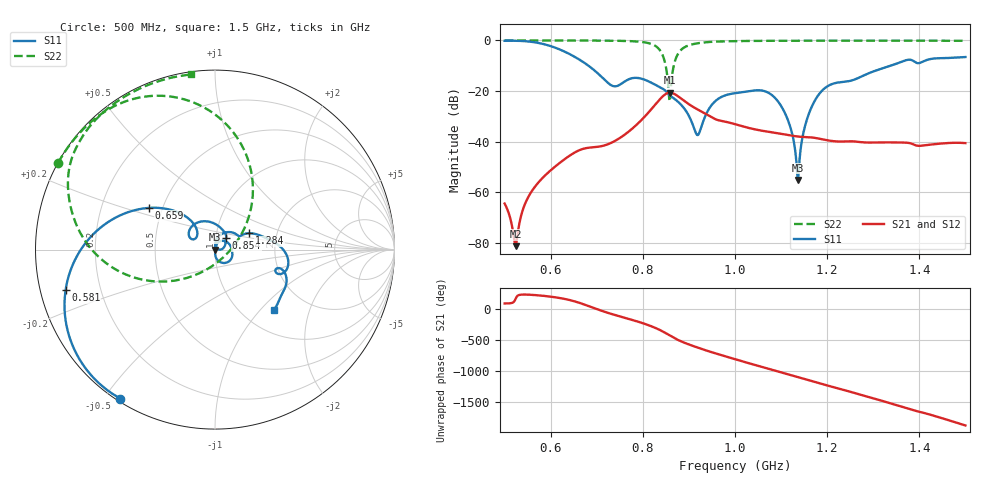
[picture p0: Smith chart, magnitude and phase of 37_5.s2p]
! TOUCHSTONE file generated by CST MICROWAVE STUDIO
! Date and time: Mon Oct 26 12:28:59 2020
! Project name: Scenario_1_Circular_Tissue_out_of_Line.cst
! Parameters = {dy1=278.276; L_HA=400; MT=2.54; Rad_Dielectric=30; Rad_Lower=7.3; Rad_Upper=30; a_HA=580; a_WG=246; b_HA=500; b_WG=121; c_HA=0; c_WG=187; d_feed=85; dx1=866; h_feed=15; h_lower=18; h_upper=40}
! Header version: 2018
! Port assignment regex: !\s*Touchstone port\s*([0-9]+)\s*=\s*(CST MWS port|CST DS port)\s*([0-9]+|Zmin|Zmax)\s*\(\"(.*)\"\)(\s*mode\s*([0-9]+))?.*
! Touchstone port assignment:
! Touchstone port 1 = CST MWS port 1 ("")
! Touchstone port 2 = CST MWS port 2 ("")
# GHz S DB R 50
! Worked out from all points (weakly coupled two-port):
!   1001 points, 500 MHz to 1.5 GHz, reference 50 ohm
!   highest |S21| = -20.64 dB at 859 MHz (marker M1); lowest = -81.2 dB at 524 MHz (marker M2)
!   lowest |S11| = -55.1 dB at 1.136 GHz (marker M3), VSWR 1.00, Z = 50.2 - j0.0552 ohm
!   |S11| at or under -10 dB: 682.1 MHz to 1.338 GHz (655.5 MHz wide, 64.9 % of centre)
!   |S22| runs from -24.0 to 0.0 dB; largest |S21 - S12| = 7.4e-05
!   S11 on the Smith chart (normalised r, x): 500 MHz: 0.01, -0.55; 581 MHz: 0.08, -0.13; 659 MHz: 0.42, +0.24; 854 MHz: 1.12, +0.15; 1.284 GHz: 1.44, +0.28; 1.5 GHz: 1.38, -1.19
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0.5  -0.15 -122.4  -64.39 83.3  -64.39 83.3  -0.01 151.1
0.524  -0.13 -132.6  -81.23 161.1  -81.81 156.2  -0.01 149.5
0.546  -0.32 -143.9  -63.82 -133.8  -63.99 -133.3  -0.01 148.0
0.581  -1.28 -164.8  -54.55 -151.7  -54.60 -151.5  -0.02 145.5
0.659  -7.21 147.8  -43.59 101.0  -43.55 100.6  -0.04 139.1
0.667  -8.11 143.7  -43.00 81.4  -42.96 81.0  -0.04 138.3
0.735  -17.99 142.4  -40.11 -92.7  -40.11 -92.7  -0.12 130.1
0.779  -14.83 139.3  -34.51 173.8  -34.51 173.8  -0.33 120.6
0.834  -18.17 74.0  -23.84 26.6  -23.84 26.6  -3.19 84.0
0.854  -20.91 46.6  -20.78 -53.4  -20.78 -53.4  -15.59 29.4
0.859  -21.77 42.5  -20.64 -75.2  -20.64 -75.2  -22.95 -78.0
0.878  -24.49 22.0  -22.28 -150.2  -22.28 -150.2  -4.81 -169.6
0.919  -37.37 36.8  -27.26 92.8  -27.27 92.8  -1.12 158.4
0.953  -24.72 55.6  -30.68 10.0  -30.69 10.0  -0.52 148.4
1  -20.84 7.2  -33.07 -93.8  -33.07 -93.8  -0.28 140.2
1.09  -23.34 -72.0  -36.56 74.9  -36.56 74.9  -0.13 130.6
1.119  -33.60 -87.8  -37.46 13.0  -37.46 13.0  -0.11 128.1
1.136  -55.12 -18.3  -37.93 -22.1  -37.93 -22.1  -0.10 126.6
1.167  -26.00 83.0  -38.33 -87.4  -38.33 -87.4  -0.10 124.1
1.284  -13.45 25.4  -40.29 29.0  -40.29 29.0  -0.08 115.2
1.334  -10.22 10.3  -40.25 -77.0  -40.25 -76.9  -0.09 111.4
1.5  -6.56 -45.6  -40.53 -81.0  -40.53 -80.8  -0.13 97.8
